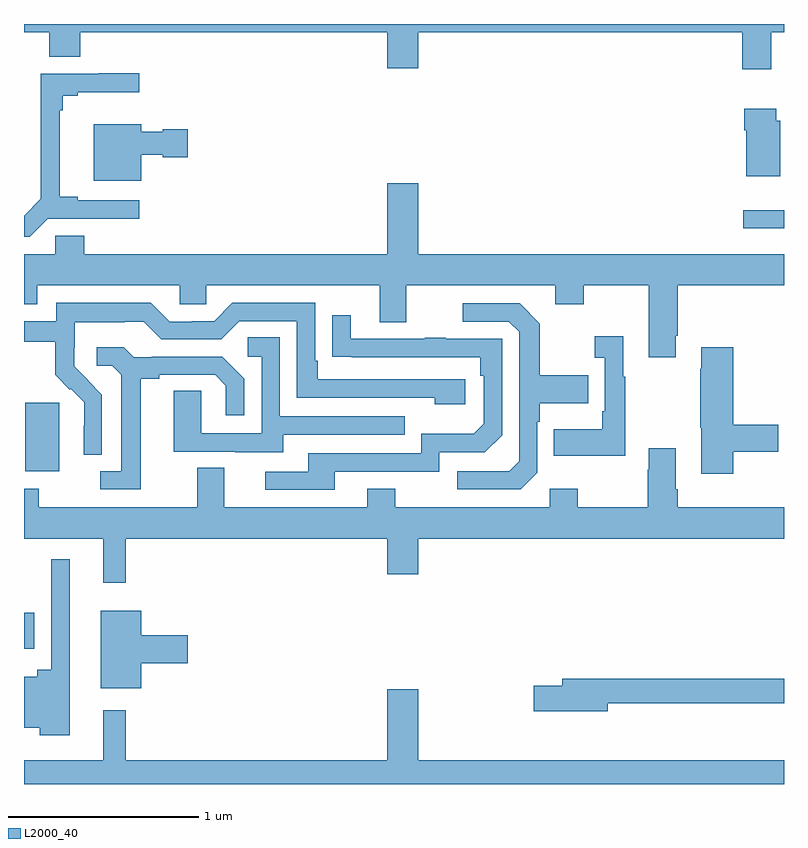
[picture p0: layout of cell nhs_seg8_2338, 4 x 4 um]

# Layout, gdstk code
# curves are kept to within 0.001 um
import gdstk
lib = gdstk.Library(unit=1e-6, precision=1e-09)
def R(c, l, rs):  # rectangles x0, y0, x1, y1
    for r in rs: c.add(gdstk.rectangle(r[:2], r[2:], *l))
def P(c, l, *ps):  # polygons
    for p in ps: c.add(gdstk.Polygon(p, *l))
L2000_40 = (2000, 40)

nhs_seg8_2338 = lib.new_cell('nhs_seg8_2338')
R(nhs_seg8_2338, L2000_40, [(259,1090.613,259.054,1090.801), (259.007,1091.546,259.186,1091.907), (262.785,1092.824,263,1092.921)])
P(nhs_seg8_2338, L2000_40, [(259,1093.856),(259.133,1093.856),(259.133,1093.728),(259.297,1093.728),(259.297,1093.856),(260.912,1093.856),(260.912,1093.668),(261.076,1093.668),(261.076,1093.856),(262.781,1093.856),(262.781,1093.662),(262.933,1093.662),(262.933,1093.856),(263,1093.856),(263,1093.9),(259,1093.9)],
  [(259.126,1092.876),(259.606,1092.875),(259.606,1092.972),(259.282,1092.972),(259.282,1092.992),(259.187,1092.992),(259.187,1093.445),(259.205,1093.445),(259.205,1093.522),(259.282,1093.522),(259.282,1093.541),(259.606,1093.541),(259.606,1093.64),(259.393,1093.64),(259.393,1093.638),(259.089,1093.638),(259.089,1092.981),(259,1092.892),(259,1092.78),(259.03,1092.78)],
  [(262.981,1093.392),(262.96,1093.392),(262.96,1093.453),(262.79,1093.453),(262.79,1093.34),(262.802,1093.34),(262.802,1093.1),(262.981,1093.1)],
  [(259.618,1093.211),(259.731,1093.211),(259.731,1093.199),(259.861,1093.199),(259.861,1093.346),(259.731,1093.346),(259.731,1093.333),(259.618,1093.333),(259.618,1093.372),(259.367,1093.372),(259.367,1093.076),(259.618,1093.076)],
  [(262.429,1092.259),(262.442,1092.259),(262.442,1092.524),(263,1092.524),(263,1092.688),(261.076,1092.688),(261.076,1093.063),(260.912,1093.063),(260.912,1092.688),(259.316,1092.688),(259.316,1092.786),(259.164,1092.786),(259.164,1092.688),(259,1092.688),(259,1092.425),(259.069,1092.425),(259.069,1092.524),(259.821,1092.524),(259.821,1092.426),(259.959,1092.426),(259.959,1092.524),(260.873,1092.524),(260.873,1092.33),(261.013,1092.33),(261.013,1092.524),(261.797,1092.524),(261.797,1092.425),(261.945,1092.425),(261.945,1092.524),(262.289,1092.524),(262.289,1092.147),(262.429,1092.147)],
  [(259.41,1091.95),(259.264,1092.098),(259.264,1092.195),(259.266,1092.195),(259.266,1092.329),(259.529,1092.329),(259.529,1092.333),(259.629,1092.333),(259.722,1092.24),(260.037,1092.24),(260.133,1092.336),(260.436,1092.336),(260.436,1091.934),(261.161,1091.934),(261.161,1091.9),(261.322,1091.9),(261.322,1092.03),(260.545,1092.03),(260.545,1092.127),(260.532,1092.127),(260.532,1092.432),(260.097,1092.432),(260.001,1092.336),(259.883,1092.336),(259.883,1092.333),(259.767,1092.333),(259.667,1092.433),(259.17,1092.433),(259.17,1092.336),(259,1092.336),(259,1092.228),(259.165,1092.228),(259.165,1092.053),(259.242,1091.976),(259.245,1091.979),(259.316,1091.909),(259.316,1091.786),(259.314,1091.786),(259.314,1091.632),(259.41,1091.632)],
  [(261.702,1091.538),(261.702,1091.807),(261.715,1091.807),(261.715,1091.903),(261.971,1091.903),(261.971,1092.051),(261.715,1092.051),(261.715,1092.323),(261.609,1092.429),(261.309,1092.429),(261.309,1092.333),(261.552,1092.333),(261.606,1092.279),(261.606,1091.598),(261.555,1091.547),(261.279,1091.547),(261.279,1091.451),(261.615,1091.451)],
  [(260.635,1091.544),(261.186,1091.544),(261.186,1091.646),(261.426,1091.646),(261.516,1091.736),(261.516,1092.243),(261.221,1092.243),(261.221,1092.248),(261.109,1092.248),(261.109,1092.243),(260.719,1092.243),(260.719,1092.367),(260.623,1092.367),(260.623,1092.148),(261.4,1092.147),(261.4,1092.05),(261.42,1092.05),(261.42,1091.796),(261.367,1091.743),(261.09,1091.743),(261.09,1091.64),(260.495,1091.64),(260.495,1091.544),(260.271,1091.544),(260.271,1091.448),(260.635,1091.448)],
  [(262.165,1092.043),(262.153,1092.043),(262.153,1092.256),(262.005,1092.256),(262.005,1092.143),(262.056,1092.143),(262.056,1091.863),(262.044,1091.863),(262.044,1091.767),(261.787,1091.767),(261.787,1091.627),(262.165,1091.627)],
  [(260.365,1091.739),(261.005,1091.739),(261.005,1091.835),(260.346,1091.835),(260.346,1092.251),(260.178,1092.251),(260.178,1092.15),(260.25,1092.15),(260.25,1091.745),(259.932,1091.745),(259.932,1091.969),(259.787,1091.969),(259.787,1091.649),(260.111,1091.649),(260.111,1091.645),(260.365,1091.645)],
  [(262.733,1091.65),(262.969,1091.65),(262.969,1091.792),(262.733,1091.792),(262.733,1092.199),(262.565,1092.199),(262.565,1092.086),(262.558,1092.086),(262.558,1091.775),(262.565,1091.775),(262.565,1091.532),(262.733,1091.532)],
  [(259.615,1092.032),(259.711,1092.032),(259.711,1092.054),(260.006,1092.054),(260.063,1091.997),(260.063,1091.841),(260.16,1091.841),(260.16,1092.034),(260.044,1092.15),(259.672,1092.15),(259.672,1092.147),(259.578,1092.147),(259.526,1092.199),(259.383,1092.199),(259.383,1092.102),(259.464,1092.102),(259.511,1092.055),(259.511,1091.547),(259.401,1091.547),(259.401,1091.451),(259.615,1091.451)],
  [(262.429,1091.452),(262.429,1091.668),(262.289,1091.668),(262.289,1091.555),(262.282,1091.555),(262.282,1091.356),(261.915,1091.356),(261.915,1091.455),(261.768,1091.455),(261.768,1091.356),(260.955,1091.356),(260.955,1091.455),(260.807,1091.455),(260.807,1091.356),(260.053,1091.356),(260.053,1091.564),(259.913,1091.564),(259.913,1091.356),(259.077,1091.356),(259.077,1091.455),(259,1091.455),(259,1091.192),(259.418,1091.192),(259.418,1090.959),(259.535,1090.959),(259.535,1091.192),(260.912,1091.192),(260.912,1091.004),(261.076,1091.004),(261.076,1091.192),(263,1091.192),(263,1091.356),(262.442,1091.356),(262.442,1091.452)],
  [(259.24,1091.083),(259.143,1091.083),(259.143,1090.501),(259.07,1090.501),(259.07,1090.465),(259,1090.465),(259,1090.196),(259.082,1090.196),(259.082,1090.157),(259.24,1090.157)],
  [(259.618,1090.535),(259.861,1090.535),(259.861,1090.682),(259.618,1090.682),(259.618,1090.813),(259.403,1090.813),(259.403,1090.403),(259.618,1090.403)],
  [(262.072,1090.326),(263,1090.326),(263,1090.454),(261.833,1090.454),(261.833,1090.418),(261.684,1090.418),(261.684,1090.283),(262.072,1090.283)],
  [(263,1090.024),(261.076,1090.024),(261.076,1090.399),(260.912,1090.399),(260.912,1090.024),(259.535,1090.024),(259.535,1090.288),(259.418,1090.288),(259.418,1090.024),(259,1090.024),(259,1089.9),(263,1089.9)])

lib.write_gds('nhs_seg8_2338.gds')
